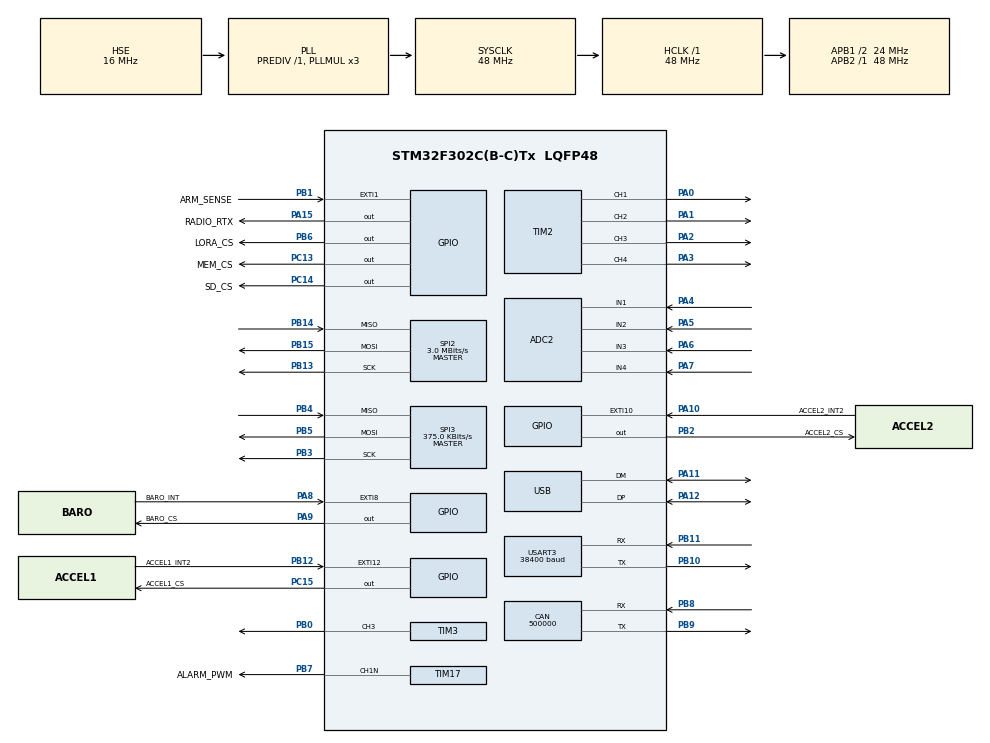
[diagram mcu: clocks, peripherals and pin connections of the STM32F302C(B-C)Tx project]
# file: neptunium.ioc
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ADC2.Channel-0\#ChannelRegularConversion=ADC_CHANNEL_1
ADC2.NbrOfConversionFlag=1
ADC2.Offset-0\#ChannelRegularConversion=0
ADC2.OffsetNumber-0\#ChannelRegularConversion=ADC_OFFSET_NONE
ADC2.Rank-0\#ChannelRegularConversion=1
ADC2.SamplingTime-0\#ChannelRegularConversion=ADC_SAMPLETIME_1CYCLE_5
AL94.I-CUBE-USBD-COMPOSITE.1.0.3._USBD_USE_CDC_ACM=true
AL94.I-CUBE-USBD-COMPOSITE.1.0.3._USBD_USE_MSC=true
CAN.CalculateBaudRate=500000
CAN.CalculateTimeBit=2000
CAN.CalculateTimeQuantum=666.6666666666666
FREERTOS.Queues01=usbRxQueue,16,uint16_t,0,Dynamic,NULL,NULL
FREERTOS.Tasks01=defaultTask,0,128,StartDefaultTask,Default,NULL,Dynamic,NULL,NULL
FREERTOS.configUSE_NEWLIB_REENTRANT=1
Mcu.Family=STM32F3
Mcu.Name=STM32F302C(B-C)Tx
Mcu.Package=LQFP48
NVIC.EXTI15_10_IRQn=true\:5\:0\:false\:false\:true\:true\:true\:true\:true
NVIC.EXTI9_5_IRQn=true\:5\:0\:false\:false\:true\:true\:true\:true\:true
NVIC.PriorityGroup=NVIC_PRIORITYGROUP_4
NVIC.TIM1_UP_TIM16_IRQn=true\:15\:0\:false\:false\:true\:false\:false\:true\:true
NVIC.TimeBase=TIM1_UP_TIM16_IRQn
NVIC.TimeBaseIP=TIM1
NVIC.USART3_IRQn=true\:5\:0\:true\:true\:true\:1\:true\:true\:true\:true
NVIC.USB_HP_IRQn=true\:7\:0\:true\:false\:true\:true\:false\:true\:true
NVIC.USB_LP_IRQn=true\:7\:0\:true\:false\:true\:true\:true\:true\:true
PA0.Signal=S_TIM2_CH1_ETR
PA1.Signal=S_TIM2_CH2
PA10.GPIO_Label=ACCEL2_INT2
PA10.Signal=GPXTI10
PA11.Mode=Device
PA11.Signal=USB_DM
PA12.Mode=Device
PA12.Signal=USB_DP
PA13.Mode=Serial_Wire
PA13.Signal=SYS_JTMS-SWDIO
PA14.Mode=Serial_Wire
PA14.Signal=SYS_JTCK-SWCLK
PA15.GPIO_Label=RADIO_R\\TX
PA15.Signal=GPIO_Output
PA2.Signal=S_TIM2_CH3
PA3.Signal=S_TIM2_CH4
PA4.Mode=IN1-Single-Ended
PA4.Signal=ADC2_IN1
PA5.Mode=IN2-Single-Ended
PA5.Signal=ADC2_IN2
PA6.Mode=IN3-Single-Ended
PA6.Signal=ADC2_IN3
PA7.Mode=IN4-Single-Ended
PA7.Signal=ADC2_IN4
PA8.GPIO_Label=BARO_INT
PA8.Signal=GPXTI8
PA9.GPIO_Label=BARO_CS
PA9.GPIO_ModeDefaultOutputPP=GPIO_MODE_OUTPUT_PP
PA9.GPIO_PuPd=GPIO_NOPULL
PA9.GPIO_Speed=GPIO_SPEED_FREQ_LOW
PA9.PinState=GPIO_PIN_SET
PA9.Signal=GPIO_Output
PB0.Signal=S_TIM3_CH3
PB1.GPIO_Label=ARM_SENSE
PB1.Signal=GPXTI1
PB10.Mode=Asynchronous
PB10.Signal=USART3_TX
PB11.Mode=Asynchronous
PB11.Signal=USART3_RX
PB12.GPIO_Label=ACCEL1_INT2
PB12.Signal=GPXTI12
PB13.Mode=Full_Duplex_Master
PB13.Signal=SPI2_SCK
PB14.Mode=Full_Duplex_Master
PB14.Signal=SPI2_MISO
PB15.Mode=Full_Duplex_Master
PB15.Signal=SPI2_MOSI
PB2.GPIO_Label=ACCEL2_CS
PB2.GPIO_ModeDefaultOutputPP=GPIO_MODE_OUTPUT_PP
PB2.GPIO_PuPd=GPIO_NOPULL
PB2.GPIO_Speed=GPIO_SPEED_FREQ_LOW
PB2.PinState=GPIO_PIN_SET
PB2.Signal=GPIO_Output
PB3.GPIO_PuPd=GPIO_PULLUP
PB3.GPIO_Speed=GPIO_SPEED_FREQ_HIGH
PB3.Mode=Full_Duplex_Master
PB3.Signal=SPI3_SCK
PB4.GPIO_PuPd=GPIO_PULLUP
PB4.GPIO_Speed=GPIO_SPEED_FREQ_HIGH
PB4.Mode=Full_Duplex_Master
PB4.Signal=SPI3_MISO
PB5.GPIO_PuPd=GPIO_PULLUP
PB5.GPIO_Speed=GPIO_SPEED_FREQ_HIGH
PB5.Mode=Full_Duplex_Master
PB5.Signal=SPI3_MOSI
PB6.GPIO_FM6=__NULL
PB6.GPIO_Label=LORA_CS
PB6.GPIO_ModeDefaultOutputPP=GPIO_MODE_OUTPUT_PP
PB6.GPIO_PuPd=GPIO_NOPULL
PB6.GPIO_Speed=GPIO_SPEED_FREQ_LOW
PB6.PinState=GPIO_PIN_SET
PB6.Signal=GPIO_Output
PB7.GPIO_Label=ALARM_PWM
PB7.Mode=Output Compare1 CH1N
PB7.Signal=TIM17_CH1N
PB8.Mode=CAN_Activate
PB8.Signal=CAN_RX
PB9.Mode=CAN_Activate
PB9.Signal=CAN_TX
PC13.GPIO_Label=MEM_CS
PC13.GPIO_ModeDefaultOutputPP=GPIO_MODE_OUTPUT_PP
PC13.GPIO_PuPd=GPIO_NOPULL
PC13.GPIO_Speed=GPIO_SPEED_FREQ_LOW
PC13.PinState=GPIO_PIN_SET
PC13.Signal=GPIO_Output
PC14-OSC32_IN.GPIO_Label=SD_CS
PC14-OSC32_IN.GPIO_ModeDefaultOutputPP=GPIO_MODE_OUTPUT_PP
PC14-OSC32_IN.GPIO_PuPd=GPIO_NOPULL
PC14-OSC32_IN.GPIO_Speed=GPIO_SPEED_FREQ_LOW
PC14-OSC32_IN.PinState=GPIO_PIN_SET
PC14-OSC32_IN.Signal=GPIO_Output
PC15-OSC32_OUT.GPIO_Label=ACCEL1_CS
PC15-OSC32_OUT.GPIO_ModeDefaultOutputPP=GPIO_MODE_OUTPUT_PP
PC15-OSC32_OUT.GPIO_PuPd=GPIO_NOPULL
PC15-OSC32_OUT.GPIO_Speed=GPIO_SPEED_FREQ_LOW
PC15-OSC32_OUT.PinState=GPIO_PIN_SET
PC15-OSC32_OUT.Signal=GPIO_Output
PF0-OSC_IN.Mode=HSE-External-Oscillator
PF0-OSC_IN.Signal=RCC_OSC_IN
PF1-OSC_OUT.Mode=HSE-External-Oscillator
PF1-OSC_OUT.Signal=RCC_OSC_OUT
ProjectManager.HeapSize=0x1500
ProjectManager.StackSize=0x3000
ProjectManager.TargetToolchain=STM32CubeIDE
RCC.AHBFreq_Value=48000000
RCC.APB1CLKDivider=RCC_HCLK_DIV2
RCC.APB1Freq_Value=24000000
RCC.APB1TimFreq_Value=48000000
RCC.APB2Freq_Value=48000000
RCC.APB2TimFreq_Value=48000000
RCC.CortexFreq_Value=48000000
RCC.HCLKFreq_Value=48000000
RCC.HSE_VALUE=16000000
RCC.HSI_VALUE=8000000
RCC.LSE_VALUE=32768
RCC.PLLMUL=RCC_PLL_MUL3
RCC.SYSCLKFreq_VALUE=48000000
RCC.SYSCLKSourceVirtual=RCC_SYSCLKSOURCE_PLLCLK
RCC.USBFreq_Value=48000000
SH.S_TIM2_CH1_ETR.0=TIM2_CH1,PWM Generation1 CH1
SH.S_TIM2_CH2.0=TIM2_CH2,PWM Generation2 CH2
SH.S_TIM2_CH3.0=TIM2_CH3,PWM Generation3 CH3
SH.S_TIM2_CH4.0=TIM2_CH4,PWM Generation4 CH4
SH.S_TIM3_CH3.0=TIM3_CH3,PWM Generation3 CH3
SPI2.BaudRatePrescaler=SPI_BAUDRATEPRESCALER_8
SPI2.CLKPhase=SPI_PHASE_2EDGE
SPI2.CLKPolarity=SPI_POLARITY_HIGH
SPI2.CalculateBaudRate=3.0 MBits/s
SPI2.DataSize=SPI_DATASIZE_8BIT
SPI2.Direction=SPI_DIRECTION_2LINES
SPI2.Mode=SPI_MODE_MASTER
SPI2.VirtualType=VM_MASTER
SPI3.BaudRatePrescaler=SPI_BAUDRATEPRESCALER_64
SPI3.CalculateBaudRate=375.0 KBits/s
SPI3.DataSize=SPI_DATASIZE_8BIT
SPI3.Direction=SPI_DIRECTION_2LINES
SPI3.Mode=SPI_MODE_MASTER
SPI3.VirtualType=VM_MASTER
TIM17.Channel=TIM_CHANNEL_1
TIM2.Channel-PWM\ Generation1\ CH1=TIM_CHANNEL_1
TIM2.Channel-PWM\ Generation2\ CH2=TIM_CHANNEL_2
TIM2.Channel-PWM\ Generation3\ CH3=TIM_CHANNEL_3
TIM2.Channel-PWM\ Generation4\ CH4=TIM_CHANNEL_4
TIM3.Channel-PWM\ Generation3\ CH3=TIM_CHANNEL_3
USART3.BaudRate=38400
USART3.VirtualMode-Asynchronous=VM_ASYNC
USB_DEVICE.CLASS_NAME_FS=CDC
USB_DEVICE.VirtualMode=Cdc
USB_DEVICE.VirtualModeFS=Cdc_FS
VP_FREERTOS_VS_CMSIS_V1.Mode=CMSIS_V1
VP_SYS_VS_tim1.Mode=TIM1
VP_TIM17_VS_ClockSourceINT.Mode=Enable_Timer
VP_USB_DEVICE_VS_USB_DEVICE_CDC_FS.Mode=CDC_FS
board=custom

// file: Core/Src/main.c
/* USER CODE BEGIN Header */
/**
 ******************************************************************************
 * @file           : main.c
 * @brief          : Main program body
 ******************************************************************************
 * @attention
 *
 * Copyright (c) 2024 STMicroelectronics.
 * All rights reserved.
 *
 * This software is licensed under terms that can be found in the LICENSE file
 * in the root directory of this software component.
 * If no LICENSE file comes with this software, it is provided AS-IS.
 *
 ******************************************************************************
 */
/* USER CODE END Header */
#include "main.h"
#include "cmsis_os.h"
#include "usb_device.h"

/* USER CODE BEGIN Includes */
#include "logging.h"
#include "usb_device.h"
#include "entrypoint.h"
/* USER CODE END Includes */

/* USER CODE BEGIN PD */
// #define DEBUG_GNSS_PASSTHROUGH_USB
#define TEST_LORA
/* USER CODE END PD */

ADC_HandleTypeDef hadc2;

CAN_HandleTypeDef hcan;

SPI_HandleTypeDef hspi2;
SPI_HandleTypeDef hspi3;

TIM_HandleTypeDef htim2;
TIM_HandleTypeDef htim3;
TIM_HandleTypeDef htim17;

UART_HandleTypeDef huart3;

osThreadId defaultTaskHandle;
osMessageQId usbRxQueueHandle;
/* USER CODE BEGIN PV */
uint8_t gnss_buf[64];
ubx_nav_pvt_msg_t navPvt;
ubx_nav_dop_msg_t navDop;

osThreadId entrypointTaskHandle;
osThreadId loggingTaskHandle;
osThreadId lsm6dsoIntTaskHandle;
osThreadId lps22hbIntTaskHandle;
/* USER CODE END PV */

void SystemClock_Config(void);
static void MX_GPIO_Init(void);
static void MX_USART3_UART_Init(void);
static void MX_SPI2_Init(void);
static void MX_SPI3_Init(void);
static void MX_TIM2_Init(void);
static void MX_TIM17_Init(void);
static void MX_ADC2_Init(void);
static void MX_CAN_Init(void);
static void MX_TIM3_Init(void);
void StartDefaultTask(void const * argument);

static void MX_NVIC_Init(void);
/* USER CODE BEGIN PFP */
void StartLoggingTask(void const *argument);
/* USER CODE END PFP */

int main(void)
{

  /* MCU Configuration--------------------------------------------------------*/

  /* Reset of all peripherals, Initializes the Flash interface and the Systick. */
  HAL_Init();

  /* Configure the system clock */
  SystemClock_Config();

  /* Initialize all configured peripherals */
  MX_GPIO_Init();
  MX_USART3_UART_Init();
  MX_SPI2_Init();
  MX_SPI3_Init();
  MX_TIM2_Init();
  MX_TIM17_Init();
  MX_ADC2_Init();
  MX_CAN_Init();
  MX_TIM3_Init();

  /* Initialize interrupts */
  MX_NVIC_Init();
  /* USER CODE BEGIN 2 */
  MX_USB_DEVICE_Init();

  static uint32_t s; // store n elts

  // HAL_Delay(100);
  // neoInit();
  // lsm6dsox_read_data_drdy_init();
  // lps22hb_multi_read_fifo_init();
  // lora_setup(EN_RX | EN_TX);

  // SD CARD INITIALIZATION

  // HAL_Delay(1000); // a short delay is important to let the SD card settle

  FATFS FatFs;  // Fatfs handle
  FIL fil;      // File handle
  FRESULT fres; // Result after operations

  // Open the file system
  // do
  // {
  //   fres = f_mount(&FatFs, "test_file.txt", 1); // 1=mount now
  // } while (fres != FR_OK);

  // END SD CARD INITIALIZATION

  /* USER CODE END 2 */

  /* Create the queue(s) */
  /* definition and creation of usbRxQueue */
  osMessageQDef(usbRxQueue, 16, uint16_t);
  usbRxQueueHandle = osMessageCreate(osMessageQ(usbRxQueue), NULL);

  /* USER CODE BEGIN RTOS_QUEUES */
  /* add queues, ... */
#if 0
  /* USER CODE END RTOS_QUEUES */

  /* Create the thread(s) */
  /* definition and creation of defaultTask */
  osThreadDef(defaultTask, StartDefaultTask, osPriorityNormal, 0, 128);
  defaultTaskHandle = osThreadCreate(osThread(defaultTask), NULL);

  /* USER CODE BEGIN RTOS_THREADS */
#endif
  osThreadDef(entrypointTask, StartEntrypointTask, osPriorityNormal, 0, 128);
  entrypointTaskHandle = osThreadCreate(osThread(entrypointTask), NULL);
  /* add threads, ... */
  /* USER CODE END RTOS_THREADS */

  /* Start scheduler */
  osKernelStart();

  /* We should never get here as control is now taken by the scheduler */

  /* Infinite loop */
  while (1)
  {

  }
}

void SystemClock_Config(void)
{
  RCC_OscInitTypeDef RCC_OscInitStruct = {0};
  RCC_ClkInitTypeDef RCC_ClkInitStruct = {0};
  RCC_PeriphCLKInitTypeDef PeriphClkInit = {0};

  /** Initializes the RCC Oscillators according to the specified parameters
  * in the RCC_OscInitTypeDef structure.
  */
  RCC_OscInitStruct.OscillatorType = RCC_OSCILLATORTYPE_HSE;
  RCC_OscInitStruct.HSEState = RCC_HSE_ON;
  RCC_OscInitStruct.HSEPredivValue = RCC_HSE_PREDIV_DIV1;
  RCC_OscInitStruct.HSIState = RCC_HSI_ON;
  RCC_OscInitStruct.PLL.PLLState = RCC_PLL_ON;
  RCC_OscInitStruct.PLL.PLLSource = RCC_PLLSOURCE_HSE;
  RCC_OscInitStruct.PLL.PLLMUL = RCC_PLL_MUL3;
  if (HAL_RCC_OscConfig(&RCC_OscInitStruct) != HAL_OK)
  {
    Error_Handler();
  }

  /** Initializes the CPU, AHB and APB buses clocks
  */
  RCC_ClkInitStruct.ClockType = RCC_CLOCKTYPE_HCLK|RCC_CLOCKTYPE_SYSCLK
                              |RCC_CLOCKTYPE_PCLK1|RCC_CLOCKTYPE_PCLK2;
  RCC_ClkInitStruct.SYSCLKSource = RCC_SYSCLKSOURCE_PLLCLK;
  RCC_ClkInitStruct.AHBCLKDivider = RCC_SYSCLK_DIV1;
  RCC_ClkInitStruct.APB1CLKDivider = RCC_HCLK_DIV2;
  RCC_ClkInitStruct.APB2CLKDivider = RCC_HCLK_DIV1;

  if (HAL_RCC_ClockConfig(&RCC_ClkInitStruct, FLASH_LATENCY_1) != HAL_OK)
  {
    Error_Handler();
  }
  PeriphClkInit.PeriphClockSelection = RCC_PERIPHCLK_USB|RCC_PERIPHCLK_USART3
                              |RCC_PERIPHCLK_ADC12;
  PeriphClkInit.Usart3ClockSelection = RCC_USART3CLKSOURCE_PCLK1;
  PeriphClkInit.Adc12ClockSelection = RCC_ADC12PLLCLK_DIV1;
  PeriphClkInit.USBClockSelection = RCC_USBCLKSOURCE_PLL;
  if (HAL_RCCEx_PeriphCLKConfig(&PeriphClkInit) != HAL_OK)
  {
    Error_Handler();
  }
}

/**
  * @brief NVIC Configuration.
  * @retval None
  */
static void MX_NVIC_Init(void)
{
  /* USART3_IRQn interrupt configuration */
  HAL_NVIC_SetPriority(USART3_IRQn, 5, 0);
  HAL_NVIC_EnableIRQ(USART3_IRQn);
}

static void MX_ADC2_Init(void)
{

  ADC_ChannelConfTypeDef sConfig = {0};

  /** Common config
  */
  hadc2.Instance = ADC2;
  hadc2.Init.ClockPrescaler = ADC_CLOCK_ASYNC_DIV1;
  hadc2.Init.Resolution = ADC_RESOLUTION_12B;
  hadc2.Init.ScanConvMode = ADC_SCAN_DISABLE;
  hadc2.Init.ContinuousConvMode = DISABLE;
  hadc2.Init.DiscontinuousConvMode = DISABLE;
  hadc2.Init.ExternalTrigConvEdge = ADC_EXTERNALTRIGCONVEDGE_NONE;
  hadc2.Init.ExternalTrigConv = ADC_SOFTWARE_START;
  hadc2.Init.DataAlign = ADC_DATAALIGN_RIGHT;
  hadc2.Init.NbrOfConversion = 1;
  hadc2.Init.DMAContinuousRequests = DISABLE;
  hadc2.Init.EOCSelection = ADC_EOC_SINGLE_CONV;
  hadc2.Init.LowPowerAutoWait = DISABLE;
  hadc2.Init.Overrun = ADC_OVR_DATA_OVERWRITTEN;
  if (HAL_ADC_Init(&hadc2) != HAL_OK)
  {
    Error_Handler();
  }

  /** Configure Regular Channel
  */
  sConfig.Channel = ADC_CHANNEL_1;
  sConfig.Rank = ADC_REGULAR_RANK_1;
  sConfig.SingleDiff = ADC_SINGLE_ENDED;
  sConfig.SamplingTime = ADC_SAMPLETIME_1CYCLE_5;
  sConfig.OffsetNumber = ADC_OFFSET_NONE;
  sConfig.Offset = 0;
  if (HAL_ADC_ConfigChannel(&hadc2, &sConfig) != HAL_OK)
  {
    Error_Handler();
  }

}

static void MX_CAN_Init(void)
{

  hcan.Instance = CAN;
  hcan.Init.Prescaler = 16;
  hcan.Init.Mode = CAN_MODE_NORMAL;
  hcan.Init.SyncJumpWidth = CAN_SJW_1TQ;
  hcan.Init.TimeSeg1 = CAN_BS1_1TQ;
  hcan.Init.TimeSeg2 = CAN_BS2_1TQ;
  hcan.Init.TimeTriggeredMode = DISABLE;
  hcan.Init.AutoBusOff = DISABLE;
  hcan.Init.AutoWakeUp = DISABLE;
  hcan.Init.AutoRetransmission = DISABLE;
  hcan.Init.ReceiveFifoLocked = DISABLE;
  hcan.Init.TransmitFifoPriority = DISABLE;
  if (HAL_CAN_Init(&hcan) != HAL_OK)
  {
    Error_Handler();
  }

}

static void MX_SPI2_Init(void)
{

  /* SPI2 parameter configuration*/
  hspi2.Instance = SPI2;
  hspi2.Init.Mode = SPI_MODE_MASTER;
  hspi2.Init.Direction = SPI_DIRECTION_2LINES;
  hspi2.Init.DataSize = SPI_DATASIZE_8BIT;
  hspi2.Init.CLKPolarity = SPI_POLARITY_HIGH;
  hspi2.Init.CLKPhase = SPI_PHASE_2EDGE;
  hspi2.Init.NSS = SPI_NSS_SOFT;
  hspi2.Init.BaudRatePrescaler = SPI_BAUDRATEPRESCALER_8;
  hspi2.Init.FirstBit = SPI_FIRSTBIT_MSB;
  hspi2.Init.TIMode = SPI_TIMODE_DISABLE;
  hspi2.Init.CRCCalculation = SPI_CRCCALCULATION_DISABLE;
  hspi2.Init.CRCPolynomial = 7;
  hspi2.Init.CRCLength = SPI_CRC_LENGTH_DATASIZE;
  hspi2.Init.NSSPMode = SPI_NSS_PULSE_DISABLE;
  if (HAL_SPI_Init(&hspi2) != HAL_OK)
  {
    Error_Handler();
  }

}

static void MX_SPI3_Init(void)
{

  /* SPI3 parameter configuration*/
  hspi3.Instance = SPI3;
  hspi3.Init.Mode = SPI_MODE_MASTER;
  hspi3.Init.Direction = SPI_DIRECTION_2LINES;
  hspi3.Init.DataSize = SPI_DATASIZE_8BIT;
  hspi3.Init.CLKPolarity = SPI_POLARITY_LOW;
  hspi3.Init.CLKPhase = SPI_PHASE_1EDGE;
  hspi3.Init.NSS = SPI_NSS_SOFT;
  hspi3.Init.BaudRatePrescaler = SPI_BAUDRATEPRESCALER_64;
  hspi3.Init.FirstBit = SPI_FIRSTBIT_MSB;
  hspi3.Init.TIMode = SPI_TIMODE_DISABLE;
  hspi3.Init.CRCCalculation = SPI_CRCCALCULATION_DISABLE;
  hspi3.Init.CRCPolynomial = 7;
  hspi3.Init.CRCLength = SPI_CRC_LENGTH_DATASIZE;
  hspi3.Init.NSSPMode = SPI_NSS_PULSE_ENABLE;
  if (HAL_SPI_Init(&hspi3) != HAL_OK)
  {
    Error_Handler();
  }

}

static void MX_TIM2_Init(void)
{

  TIM_MasterConfigTypeDef sMasterConfig = {0};
  TIM_OC_InitTypeDef sConfigOC = {0};

  htim2.Instance = TIM2;
  htim2.Init.Prescaler = 0;
  htim2.Init.CounterMode = TIM_COUNTERMODE_UP;
  htim2.Init.Period = 4294967295;
  htim2.Init.ClockDivision = TIM_CLOCKDIVISION_DIV1;
  htim2.Init.AutoReloadPreload = TIM_AUTORELOAD_PRELOAD_DISABLE;
  if (HAL_TIM_PWM_Init(&htim2) != HAL_OK)
  {
    Error_Handler();
  }
  sMasterConfig.MasterOutputTrigger = TIM_TRGO_RESET;
  sMasterConfig.MasterSlaveMode = TIM_MASTERSLAVEMODE_DISABLE;
  if (HAL_TIMEx_MasterConfigSynchronization(&htim2, &sMasterConfig) != HAL_OK)
  {
    Error_Handler();
  }
  sConfigOC.OCMode = TIM_OCMODE_PWM1;
  sConfigOC.Pulse = 0;
  sConfigOC.OCPolarity = TIM_OCPOLARITY_HIGH;
  sConfigOC.OCFastMode = TIM_OCFAST_DISABLE;
  if (HAL_TIM_PWM_ConfigChannel(&htim2, &sConfigOC, TIM_CHANNEL_1) != HAL_OK)
  {
    Error_Handler();
  }
  if (HAL_TIM_PWM_ConfigChannel(&htim2, &sConfigOC, TIM_CHANNEL_2) != HAL_OK)
  {
    Error_Handler();
  }
  if (HAL_TIM_PWM_ConfigChannel(&htim2, &sConfigOC, TIM_CHANNEL_3) != HAL_OK)
  {
    Error_Handler();
  }
  if (HAL_TIM_PWM_ConfigChannel(&htim2, &sConfigOC, TIM_CHANNEL_4) != HAL_OK)
  {
    Error_Handler();
  }
  HAL_TIM_MspPostInit(&htim2);

}

static void MX_TIM3_Init(void)
{

  TIM_MasterConfigTypeDef sMasterConfig = {0};
  TIM_OC_InitTypeDef sConfigOC = {0};

  htim3.Instance = TIM3;
  htim3.Init.Prescaler = 0;
  htim3.Init.CounterMode = TIM_COUNTERMODE_UP;
  htim3.Init.Period = 65535;
  htim3.Init.ClockDivision = TIM_CLOCKDIVISION_DIV1;
  htim3.Init.AutoReloadPreload = TIM_AUTORELOAD_PRELOAD_DISABLE;
  if (HAL_TIM_PWM_Init(&htim3) != HAL_OK)
  {
    Error_Handler();
  }
  sMasterConfig.MasterOutputTrigger = TIM_TRGO_RESET;
  sMasterConfig.MasterSlaveMode = TIM_MASTERSLAVEMODE_DISABLE;
  if (HAL_TIMEx_MasterConfigSynchronization(&htim3, &sMasterConfig) != HAL_OK)
  {
    Error_Handler();
  }
  sConfigOC.OCMode = TIM_OCMODE_PWM1;
  sConfigOC.Pulse = 0;
  sConfigOC.OCPolarity = TIM_OCPOLARITY_HIGH;
  sConfigOC.OCFastMode = TIM_OCFAST_DISABLE;
  if (HAL_TIM_PWM_ConfigChannel(&htim3, &sConfigOC, TIM_CHANNEL_3) != HAL_OK)
  {
    Error_Handler();
  }
  HAL_TIM_MspPostInit(&htim3);

}

static void MX_TIM17_Init(void)
{

  TIM_OC_InitTypeDef sConfigOC = {0};
  TIM_BreakDeadTimeConfigTypeDef sBreakDeadTimeConfig = {0};

  htim17.Instance = TIM17;
  htim17.Init.Prescaler = 0;
  htim17.Init.CounterMode = TIM_COUNTERMODE_UP;
  htim17.Init.Period = 65535;
  htim17.Init.ClockDivision = TIM_CLOCKDIVISION_DIV1;
  htim17.Init.RepetitionCounter = 0;
  htim17.Init.AutoReloadPreload = TIM_AUTORELOAD_PRELOAD_DISABLE;
  if (HAL_TIM_Base_Init(&htim17) != HAL_OK)
  {
    Error_Handler();
  }
  if (HAL_TIM_OC_Init(&htim17) != HAL_OK)
  {
    Error_Handler();
  }
  sConfigOC.OCMode = TIM_OCMODE_TIMING;
  sConfigOC.Pulse = 0;
  sConfigOC.OCPolarity = TIM_OCPOLARITY_HIGH;
  sConfigOC.OCNPolarity = TIM_OCNPOLARITY_HIGH;
  sConfigOC.OCFastMode = TIM_OCFAST_DISABLE;
  sConfigOC.OCIdleState = TIM_OCIDLESTATE_RESET;
  sConfigOC.OCNIdleState = TIM_OCNIDLESTATE_RESET;
  if (HAL_TIM_OC_ConfigChannel(&htim17, &sConfigOC, TIM_CHANNEL_1) != HAL_OK)
  {
    Error_Handler();
  }
  sBreakDeadTimeConfig.OffStateRunMode = TIM_OSSR_DISABLE;
  sBreakDeadTimeConfig.OffStateIDLEMode = TIM_OSSI_DISABLE;
  sBreakDeadTimeConfig.LockLevel = TIM_LOCKLEVEL_OFF;
  sBreakDeadTimeConfig.DeadTime = 0;
  sBreakDeadTimeConfig.BreakState = TIM_BREAK_DISABLE;
  sBreakDeadTimeConfig.BreakPolarity = TIM_BREAKPOLARITY_HIGH;
  sBreakDeadTimeConfig.BreakFilter = 0;
  sBreakDeadTimeConfig.AutomaticOutput = TIM_AUTOMATICOUTPUT_DISABLE;
  if (HAL_TIMEx_ConfigBreakDeadTime(&htim17, &sBreakDeadTimeConfig) != HAL_OK)
  {
    Error_Handler();
  }
  HAL_TIM_MspPostInit(&htim17);

}

static void MX_USART3_UART_Init(void)
{

  huart3.Instance = USART3;
  huart3.Init.BaudRate = 38400;
  huart3.Init.WordLength = UART_WORDLENGTH_8B;
  huart3.Init.StopBits = UART_STOPBITS_1;
  huart3.Init.Parity = UART_PARITY_NONE;
  huart3.Init.Mode = UART_MODE_TX_RX;
  huart3.Init.HwFlowCtl = UART_HWCONTROL_NONE;
  huart3.Init.OverSampling = UART_OVERSAMPLING_16;
  huart3.Init.OneBitSampling = UART_ONE_BIT_SAMPLE_DISABLE;
  huart3.AdvancedInit.AdvFeatureInit = UART_ADVFEATURE_NO_INIT;
  if (HAL_UART_Init(&huart3) != HAL_OK)
  {
    Error_Handler();
  }

}

static void MX_GPIO_Init(void)
{
  GPIO_InitTypeDef GPIO_InitStruct = {0};

  /* GPIO Ports Clock Enable */
  __HAL_RCC_GPIOC_CLK_ENABLE();
  __HAL_RCC_GPIOF_CLK_ENABLE();
  __HAL_RCC_GPIOA_CLK_ENABLE();
  __HAL_RCC_GPIOB_CLK_ENABLE();

  /*Configure GPIO pin Output Level */
  HAL_GPIO_WritePin(GPIOC, MEM_CS_Pin|SD_CS_Pin|ACCEL1_CS_Pin, GPIO_PIN_SET);

  /*Configure GPIO pin Output Level */
  HAL_GPIO_WritePin(GPIOB, ACCEL2_CS_Pin|LORA_CS_Pin, GPIO_PIN_SET);

  /*Configure GPIO pin Output Level */
  HAL_GPIO_WritePin(BARO_CS_GPIO_Port, BARO_CS_Pin, GPIO_PIN_SET);

  /*Configure GPIO pin Output Level */
  HAL_GPIO_WritePin(RADIO_R_TX_GPIO_Port, RADIO_R_TX_Pin, GPIO_PIN_RESET);

  /*Configure GPIO pins : MEM_CS_Pin SD_CS_Pin ACCEL1_CS_Pin */
  GPIO_InitStruct.Pin = MEM_CS_Pin|SD_CS_Pin|ACCEL1_CS_Pin;
  GPIO_InitStruct.Mode = GPIO_MODE_OUTPUT_PP;
  GPIO_InitStruct.Pull = GPIO_NOPULL;
  GPIO_InitStruct.Speed = GPIO_SPEED_FREQ_LOW;
  HAL_GPIO_Init(GPIOC, &GPIO_InitStruct);

  /*Configure GPIO pins : ARM_SENSE_Pin ACCEL1_INT2_Pin */
  GPIO_InitStruct.Pin = ARM_SENSE_Pin|ACCEL1_INT2_Pin;
  GPIO_InitStruct.Mode = GPIO_MODE_IT_RISING;
  GPIO_InitStruct.Pull = GPIO_NOPULL;
  HAL_GPIO_Init(GPIOB, &GPIO_InitStruct);

  /*Configure GPIO pins : ACCEL2_CS_Pin LORA_CS_Pin */
  GPIO_InitStruct.Pin = ACCEL2_CS_Pin|LORA_CS_Pin;
  GPIO_InitStruct.Mode = GPIO_MODE_OUTPUT_PP;
  GPIO_InitStruct.Pull = GPIO_NOPULL;
  GPIO_InitStruct.Speed = GPIO_SPEED_FREQ_LOW;
  HAL_GPIO_Init(GPIOB, &GPIO_InitStruct);

  /*Configure GPIO pins : BARO_INT_Pin ACCEL2_INT2_Pin */
  GPIO_InitStruct.Pin = BARO_INT_Pin|ACCEL2_INT2_Pin;
  GPIO_InitStruct.Mode = GPIO_MODE_IT_RISING;
  GPIO_InitStruct.Pull = GPIO_NOPULL;
  HAL_GPIO_Init(GPIOA, &GPIO_InitStruct);

  /*Configure GPIO pins : BARO_CS_Pin RADIO_R_TX_Pin */
  GPIO_InitStruct.Pin = BARO_CS_Pin|RADIO_R_TX_Pin;
  GPIO_InitStruct.Mode = GPIO_MODE_OUTPUT_PP;
  GPIO_InitStruct.Pull = GPIO_NOPULL;
  GPIO_InitStruct.Speed = GPIO_SPEED_FREQ_LOW;
  HAL_GPIO_Init(GPIOA, &GPIO_InitStruct);

  /* EXTI interrupt init*/
  HAL_NVIC_SetPriority(EXTI9_5_IRQn, 5, 0);
  HAL_NVIC_EnableIRQ(EXTI9_5_IRQn);

  HAL_NVIC_SetPriority(EXTI15_10_IRQn, 5, 0);
  HAL_NVIC_EnableIRQ(EXTI15_10_IRQn);

}

/* USER CODE BEGIN 4 */
void HAL_GPIO_EXTI_Callback(uint16_t GPIO_Pin)
{
  switch (GPIO_Pin)
  {
  case GPIO_PIN_12:
    lsm6dsox_read_data_drdy_handler();
    break;
  case GPIO_PIN_8:
    lps22hb_multi_read_fifo_handler();
    break;
  default:
    __NOP();
    break;
  }
}
/* USER CODE END 4 */

void StartDefaultTask(void const * argument)
{
  /* init code for USB_DEVICE */
  MX_USB_DEVICE_Init();
  for (;;)
  {
    osDelay(1);
  }
}

void HAL_TIM_PeriodElapsedCallback(TIM_HandleTypeDef *htim)
{
  if (htim->Instance == TIM1) {
    HAL_IncTick();
  }
}

void Error_Handler(void)
{
  __disable_irq();
  while (1)
  {
  }
}
